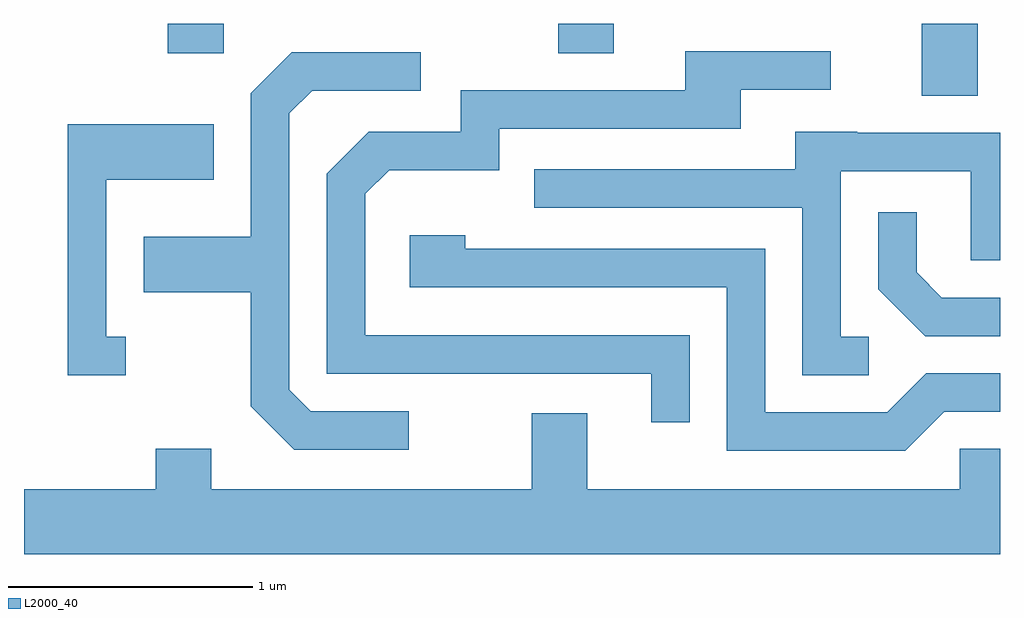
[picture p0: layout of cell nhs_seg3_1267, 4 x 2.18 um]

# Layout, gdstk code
import gdstk
lib = gdstk.Library(unit=1e-6, precision=1e-09)
def R(c, l, rs):  # rectangles x0, y0, x1, y1
    for r in rs: c.add(gdstk.rectangle(r[:2], r[2:], *l))
def P(c, l, *ps):  # polygons
    for p in ps: c.add(gdstk.Polygon(p, *l))
L2000_40 = (2000, 40)

nhs_seg3_1267 = lib.new_cell('nhs_seg3_1267')
R(nhs_seg3_1267, L2000_40, [(225.291,1205.596,225.519,1205.892), (222.201,1205.771,222.429,1205.892), (223.801,1205.771,224.029,1205.892)])
P(nhs_seg3_1267, L2000_40, [(224.339,1204.614),(223.009,1204.614),(223.009,1205.194),(223.107,1205.291),(223.559,1205.291),(223.559,1205.461),(224.549,1205.461),(224.549,1205.621),(224.918,1205.621),(224.918,1205.779),(224.321,1205.779),(224.321,1205.619),(223.401,1205.619),(223.401,1205.449),(223.024,1205.449),(222.851,1205.277),(222.851,1204.456),(224.181,1204.456),(224.181,1204.258),(224.339,1204.258)],
  [(223.188,1204.304),(222.787,1204.304),(222.699,1204.392),(222.699,1205.524),(222.792,1205.616),(223.238,1205.616),(223.238,1205.774),(222.709,1205.774),(222.541,1205.607),(222.541,1205.019),(222.101,1205.019),(222.101,1204.791),(222.541,1204.791),(222.541,1204.324),(222.719,1204.146),(223.188,1204.146)],
  [(222.028,1204.609),(221.949,1204.609),(221.949,1205.251),(222.389,1205.251),(222.389,1205.479),(221.791,1205.479),(221.791,1204.451),(222.028,1204.451)],
  [(225.073,1204.609),(224.959,1204.609),(224.959,1205.286),(225.491,1205.286),(225.491,1204.921),(225.611,1204.921),(225.611,1205.444),(225.025,1205.444),(225.025,1205.449),(224.771,1205.449),(224.771,1205.294),(223.703,1205.294),(223.703,1205.136),(224.801,1205.136),(224.801,1204.451),(225.073,1204.451)],
  [(225.611,1204.769),(225.372,1204.769),(225.269,1204.872),(225.269,1205.118),(225.111,1205.118),(225.111,1204.804),(225.304,1204.611),(225.611,1204.611)],
  [(225.382,1204.301),(225.611,1204.301),(225.611,1204.459),(225.309,1204.459),(225.149,1204.299),(224.649,1204.299),(224.649,1204.969),(223.419,1204.969),(223.419,1205.024),(223.191,1205.024),(223.191,1204.811),(224.491,1204.811),(224.491,1204.141),(225.222,1204.141)],
  [(225.611,1204.149),(225.446,1204.149),(225.446,1203.984),(223.919,1203.984),(223.919,1204.294),(223.691,1204.294),(223.691,1203.984),(222.379,1203.984),(222.379,1204.149),(222.151,1204.149),(222.151,1203.984),(221.611,1203.984),(221.611,1203.716),(225.611,1203.716)])

lib.write_gds('nhs_seg3_1267.gds')
